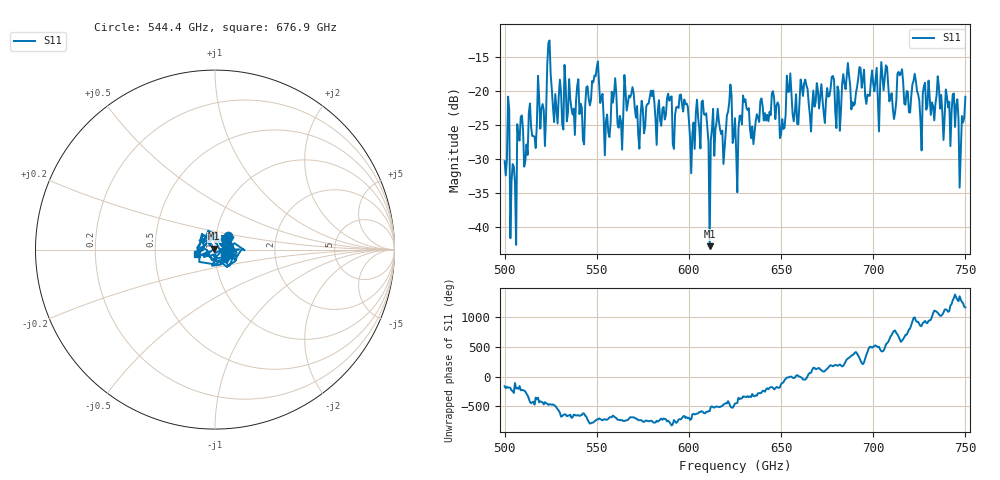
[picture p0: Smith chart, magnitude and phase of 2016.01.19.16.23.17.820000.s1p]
!Created with skrf (http://scikit-rf.org).
# GHz S RI R 50.0
!freq ReS11 ImS11
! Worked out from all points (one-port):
!   401 points, 500 GHz to 750 GHz, reference 50 ohm
!   lowest |S11| = -42.9 dB at 611.2 GHz (marker M1), VSWR 1.01, Z = 49.4 + j0.452 ohm
!   |S11| at or under -10 dB: start of sweep to end of sweep
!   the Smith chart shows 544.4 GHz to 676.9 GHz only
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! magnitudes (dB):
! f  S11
! 500 GHz  -30.3
! 501.2 GHz  -30.1
! 505 GHz  -31.2
! 508.1 GHz  -27.3
! 520.6 GHz  -21.9
! 524.4 GHz  -12.6
! 527.5 GHz  -20.5
! 531.2 GHz  -24.9
! 541.9 GHz  -22.5
! 550 GHz  -16.5
! 555.6 GHz  -23.5
! 559.4 GHz  -20.4
! 562.5 GHz  -23.7
! 568.8 GHz  -20.4
! 593.8 GHz  -22.3
! 601.9 GHz  -26.3
! 608.1 GHz  -23.4
! 611.2 GHz  -42.9
! 621.9 GHz  -21.7
! 625 GHz  -24.0
! 630.6 GHz  -21.2
! 634.4 GHz  -25.2
! 656.2 GHz  -23.4
! 687.5 GHz  -19.2
! 718.8 GHz  -20.1
! 735.6 GHz  -19.4
! 747.5 GHz  -29.1
! 750 GHz  -20.9
